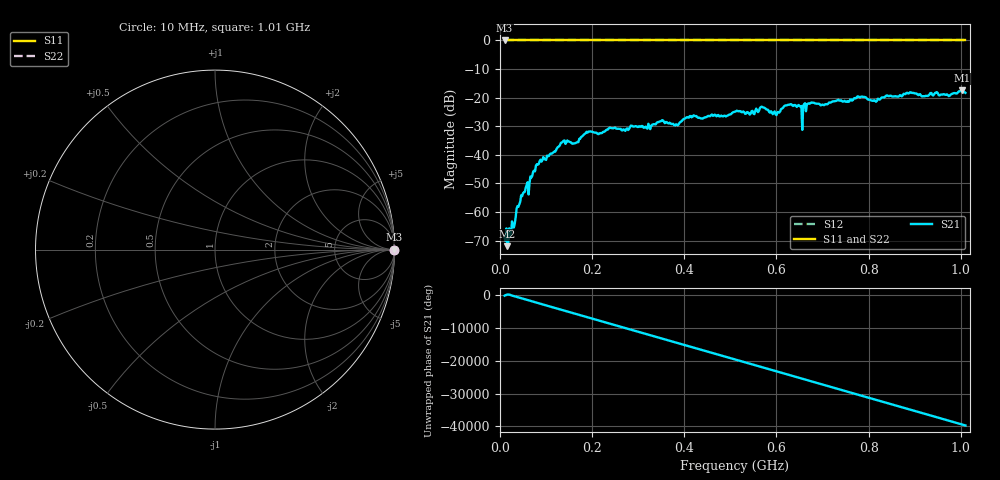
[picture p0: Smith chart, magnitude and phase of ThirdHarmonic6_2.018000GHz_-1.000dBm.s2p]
! 8/17/2025 12:13:46 AM
! C:\ANRITSUVNA\TEMP\TEMP.S2P
! CHANNEL.1
! TR.MEASUREMENT
! RAW.DATA
! RF.CORRECTION.OFF
! AVERAGING.OFF
! IF.BANDWIDTH: 5KHZ
! SWEEPTYPE:  FREQ.SWEEP(Linear)
! Reference Plane Port Info
! PORT:  PORT1  PORT2
! DISTANCE:  0  m  0  m
! TIME:  0  s  0  s
! PHASE.OFFSET:  0  deg.  0  deg.
! LOSS:  0  dB  0  dB
! REF.LOSS:  0  dB  0  dB
! REF.FREQ:  0  Hz  0  Hz
! Power Info
! POWER:  -20  dBm  -20  dBm
! EFF.POWER:  -20  dBm  -20  dBm
! SOURCE.ATTEN:  0  dB  0  dB
! TEST.ATTEN:  0  dB  0  dB
# GHZ S RI R 50.0
! FREQ.GHZ  S11RE  S11IM  S21RE  S21IM  S12RE  S12IM  S22RE  S22IM
!; PortSelection: Port_12
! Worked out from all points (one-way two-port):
!   501 points, 10 MHz to 1.01 GHz, reference 50 ohm
!   highest |S21| = -17.46 dB at 1.002 GHz (marker M1); lowest = -71.9 dB at 16 MHz (marker M2)
!   lowest |S11| = 0.0 dB at 10 MHz (marker M3)
!   |S11| at or under -10 dB: nowhere
!   |S22| runs from 0.0 to 0.0 dB; largest |S21 - S12| = 1.1
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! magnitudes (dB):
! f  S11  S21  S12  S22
! 10 MHz  0.0  -69.0  0.0  0.0
! 16 MHz  0.0  -71.9  0.0  0.0
! 28 MHz  0.0  -64.7  0.0  0.0
! 48 MHz  0.0  -54.4  0.0  0.0
! 82 MHz  0.0  -43.4  0.0  0.0
! 136 MHz  0.0  -35.4  0.0  0.0
! 162 MHz  0.0  -36.0  0.0  0.0
! 178 MHz  0.0  -33.6  0.0  0.0
! 344 MHz  0.0  -28.6  0.0  0.0
! 382 MHz  0.0  -29.3  0.0  0.0
! 410 MHz  0.0  -27.0  0.0  0.0
! 510 MHz  0.0  -24.9  0.0  0.0
! 548 MHz  0.0  -24.6  0.0  0.0
! 570 MHz  0.0  -23.4  0.0  0.0
! 602 MHz  0.0  -25.1  0.0  0.0
! 628 MHz  0.0  -22.5  0.0  0.0
! 660 MHz  0.0  -22.3  0.0  0.0
! 662 MHz  0.0  -21.9  0.0  0.0
! 678 MHz  0.0  -21.8  0.0  0.0
! 844 MHz  0.0  -19.5  0.0  0.0
! 1.002 GHz  0.0  -17.5  0.0  0.0
! 1.01 GHz  0.0  -18.3  0.0  0.0
